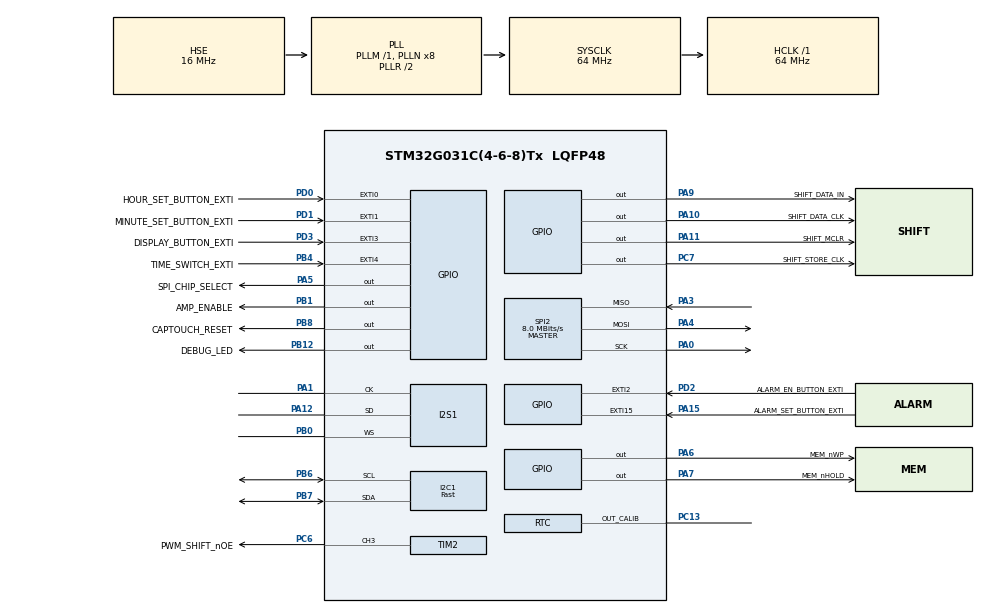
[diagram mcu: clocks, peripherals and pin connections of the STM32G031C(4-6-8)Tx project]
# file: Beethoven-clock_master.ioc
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Dma.Request0=SPI2_RX
Dma.Request1=SPI2_TX
Dma.Request2=SPI1_TX
Dma.SPI1_TX.2.Direction=DMA_MEMORY_TO_PERIPH
Dma.SPI1_TX.2.EventEnable=DISABLE
Dma.SPI1_TX.2.Instance=DMA1_Channel3
Dma.SPI1_TX.2.MemDataAlignment=DMA_MDATAALIGN_HALFWORD
Dma.SPI1_TX.2.MemInc=DMA_MINC_ENABLE
Dma.SPI1_TX.2.Mode=DMA_NORMAL
Dma.SPI1_TX.2.PeriphDataAlignment=DMA_PDATAALIGN_HALFWORD
Dma.SPI1_TX.2.PeriphInc=DMA_PINC_DISABLE
Dma.SPI1_TX.2.Polarity=HAL_DMAMUX_REQ_GEN_RISING
Dma.SPI1_TX.2.Priority=DMA_PRIORITY_VERY_HIGH
Dma.SPI1_TX.2.RequestNumber=1
Dma.SPI1_TX.2.SignalID=NONE
Dma.SPI1_TX.2.SyncEnable=DISABLE
Dma.SPI1_TX.2.SyncPolarity=HAL_DMAMUX_SYNC_NO_EVENT
Dma.SPI1_TX.2.SyncRequestNumber=1
Dma.SPI1_TX.2.SyncSignalID=NONE
Dma.SPI2_RX.0.Direction=DMA_PERIPH_TO_MEMORY
Dma.SPI2_RX.0.EventEnable=DISABLE
Dma.SPI2_RX.0.Instance=DMA1_Channel1
Dma.SPI2_RX.0.MemDataAlignment=DMA_MDATAALIGN_BYTE
Dma.SPI2_RX.0.MemInc=DMA_MINC_ENABLE
Dma.SPI2_RX.0.Mode=DMA_NORMAL
Dma.SPI2_RX.0.PeriphDataAlignment=DMA_PDATAALIGN_BYTE
Dma.SPI2_RX.0.PeriphInc=DMA_PINC_DISABLE
Dma.SPI2_RX.0.Polarity=HAL_DMAMUX_REQ_GEN_RISING
Dma.SPI2_RX.0.Priority=DMA_PRIORITY_LOW
Dma.SPI2_RX.0.RequestNumber=1
Dma.SPI2_RX.0.SignalID=NONE
Dma.SPI2_RX.0.SyncEnable=DISABLE
Dma.SPI2_RX.0.SyncPolarity=HAL_DMAMUX_SYNC_NO_EVENT
Dma.SPI2_RX.0.SyncRequestNumber=1
Dma.SPI2_RX.0.SyncSignalID=NONE
Dma.SPI2_TX.1.Direction=DMA_MEMORY_TO_PERIPH
Dma.SPI2_TX.1.EventEnable=DISABLE
Dma.SPI2_TX.1.Instance=DMA1_Channel2
Dma.SPI2_TX.1.MemDataAlignment=DMA_MDATAALIGN_BYTE
Dma.SPI2_TX.1.MemInc=DMA_MINC_ENABLE
Dma.SPI2_TX.1.Mode=DMA_NORMAL
Dma.SPI2_TX.1.PeriphDataAlignment=DMA_PDATAALIGN_BYTE
Dma.SPI2_TX.1.PeriphInc=DMA_PINC_DISABLE
Dma.SPI2_TX.1.Polarity=HAL_DMAMUX_REQ_GEN_RISING
Dma.SPI2_TX.1.Priority=DMA_PRIORITY_LOW
Dma.SPI2_TX.1.RequestNumber=1
Dma.SPI2_TX.1.SignalID=NONE
Dma.SPI2_TX.1.SyncEnable=DISABLE
Dma.SPI2_TX.1.SyncPolarity=HAL_DMAMUX_SYNC_NO_EVENT
Dma.SPI2_TX.1.SyncRequestNumber=1
Dma.SPI2_TX.1.SyncSignalID=NONE
I2C1.I2C_Speed_Mode=I2C_Fast
I2C1.Timing=0x00602173
I2S1.AudioFreq=I2S_AUDIOFREQ_44K
I2S1.ErrorAudioFreq=1.0 %
I2S1.FullDuplexMode=I2S_FULLDUPLEXMODE_DISABLE
I2S1.Instance=SPI$Index
I2S1.RealAudioFreq=44.444 KHz
I2S1.VirtualMode=I2S_MODE_MASTER
Mcu.Family=STM32G0
Mcu.Name=STM32G031C(4-6-8)Tx
Mcu.Package=LQFP48
NVIC.DMA1_Channel1_IRQn=true\:0\:0\:false\:false\:true\:false\:true\:true
NVIC.DMA1_Channel2_3_IRQn=true\:0\:0\:false\:false\:true\:false\:true\:true
NVIC.EXTI0_1_IRQn=true\:0\:0\:false\:false\:true\:true\:true\:true
NVIC.EXTI2_3_IRQn=true\:1\:0\:true\:false\:true\:true\:true\:true
NVIC.EXTI4_15_IRQn=true\:1\:0\:true\:false\:true\:true\:true\:true
NVIC.RCC_IRQn=true\:0\:0\:false\:false\:true\:true\:false\:true
NVIC.RTC_TAMP_IRQn=true\:0\:0\:false\:false\:true\:true\:true\:true
NVIC.TIM16_IRQn=true\:0\:0\:false\:false\:true\:true\:true\:true
PA0.Mode=Full_Duplex_Master
PA0.Signal=SPI2_SCK
PA1.Mode=Half_Duplex_Master
PA1.Signal=I2S1_CK
PA10.GPIO_Label=SHIFT_DATA_CLK
PA10.Signal=GPIO_Output
PA11\ [PA9].GPIO_Label=SHIFT_MCLR
PA11\ [PA9].PinState=GPIO_PIN_SET
PA11\ [PA9].Signal=GPIO_Output
PA12\ [PA10].Mode=Half_Duplex_Master
PA12\ [PA10].Signal=I2S1_SD
PA13.Mode=Serial_Wire
PA13.Signal=SYS_SWDIO
PA14-BOOT0.Mode=Serial_Wire
PA14-BOOT0.Signal=SYS_SWCLK
PA15.GPIO_Label=ALARM_SET_BUTTON_EXTI
PA15.GPIO_ModeDefaultEXTI=GPIO_MODE_IT_FALLING
PA15.GPIO_PuPd=GPIO_PULLUP
PA15.Signal=GPXTI15
PA2.Mode=Clock-out-LSCO
PA2.Signal=RCC_LSCO
PA3.Mode=Full_Duplex_Master
PA3.Signal=SPI2_MISO
PA4.Mode=Full_Duplex_Master
PA4.Signal=SPI2_MOSI
PA5.GPIO_Label=SPI_CHIP_SELECT
PA5.PinState=GPIO_PIN_SET
PA5.Signal=GPIO_Output
PA6.GPIO_Label=MEM_nWP
PA6.PinState=GPIO_PIN_SET
PA6.Signal=GPIO_Output
PA7.GPIO_Label=MEM_nHOLD
PA7.PinState=GPIO_PIN_SET
PA7.Signal=GPIO_Output
PA9.GPIO_Label=SHIFT_DATA_IN
PA9.Signal=GPIO_Output
PB0.Mode=Half_Duplex_Master
PB0.Signal=I2S1_WS
PB1.GPIO_Label=AMP_ENABLE
PB1.Signal=GPIO_Output
PB12.GPIO_Label=DEBUG_LED
PB12.Signal=GPIO_Output
PB4.GPIO_Label=TIME_SWITCH_EXTI
PB4.GPIO_ModeDefaultEXTI=GPIO_MODE_IT_RISING_FALLING
PB4.GPIO_PuPd=GPIO_PULLUP
PB4.Signal=GPXTI4
PB6.Mode=I2C
PB6.Signal=I2C1_SCL
PB7.Mode=I2C
PB7.Signal=I2C1_SDA
PB8.GPIO_Label=CAPTOUCH_RESET
PB8.PinState=GPIO_PIN_SET
PB8.Signal=GPIO_Output
PC13.Mode=Calibration_512Hz
PC13.Signal=RTC_OUT_CALIB
PC14-OSC32_IN\ (PC14).Mode=LSE-External-Oscillator
PC14-OSC32_IN\ (PC14).Signal=RCC_OSC32_IN
PC15-OSC32_OUT\ (PC15).Mode=LSE-External-Oscillator
PC15-OSC32_OUT\ (PC15).Signal=RCC_OSC32_OUT
PC6.GPIO_Label=PWM_SHIFT_nOE
PC6.Signal=S_TIM2_CH3
PC7.GPIO_Label=SHIFT_STORE_CLK
PC7.Signal=GPIO_Output
PD0.GPIO_Label=HOUR_SET_BUTTON_EXTI
PD0.GPIO_ModeDefaultEXTI=GPIO_MODE_IT_FALLING
PD0.GPIO_PuPd=GPIO_PULLUP
PD0.Signal=GPXTI0
PD1.GPIO_Label=MINUTE_SET_BUTTON_EXTI
PD1.GPIO_ModeDefaultEXTI=GPIO_MODE_IT_FALLING
PD1.GPIO_PuPd=GPIO_PULLUP
PD1.Signal=GPXTI1
PD2.GPIO_Label=ALARM_EN_BUTTON_EXTI
PD2.GPIO_ModeDefaultEXTI=GPIO_MODE_IT_FALLING
PD2.GPIO_PuPd=GPIO_PULLUP
PD2.Signal=GPXTI2
PD3.GPIO_Label=DISPLAY_BUTTON_EXTI
PD3.GPIO_ModeDefaultEXTI=GPIO_MODE_IT_FALLING
PD3.GPIO_PuPd=GPIO_PULLUP
PD3.Signal=GPXTI3
PF0-OSC_IN\ (PF0).Mode=HSE-External-Oscillator
PF0-OSC_IN\ (PF0).Signal=RCC_OSC_IN
PF1-OSC_OUT\ (PF1).Mode=HSE-External-Oscillator
PF1-OSC_OUT\ (PF1).Signal=RCC_OSC_OUT
ProjectManager.HeapSize=0x200
ProjectManager.StackSize=0x400
ProjectManager.TargetToolchain=STM32CubeIDE
RCC.ADCFreq_Value=64000000
RCC.AHBFreq_Value=64000000
RCC.CortexFreq_Value=64000000
RCC.EXTERNAL_CLOCK_VALUE=12288000
RCC.HCLKFreq_Value=64000000
RCC.HSE_VALUE=16000000
RCC.HSI_VALUE=16000000
RCC.PLLP=RCC_PLLP_DIV4
RCC.PLLSourceVirtual=RCC_PLLSOURCE_HSE
RCC.RTCClockSelection=RCC_RTCCLKSOURCE_LSE
RCC.SYSCLKFreq_VALUE=64000000
RCC.SYSCLKSource=RCC_SYSCLKSOURCE_PLLCLK
RCC.VCOOutputFreq_Value=128000000
RTC.Alarm-Alarm\ A=RTC_ALARM_A
RTC.AlarmMaskDateWeekDay-Alarm\ A=RTC_ALARMMASK_DATEWEEKDAY
RTC.AlarmMaskHours-Alarm\ A=RTC_ALARMMASK_HOURS
RTC.AlarmMaskSeconds-Alarm\ A=RTC_ALARMMASK_SECONDS
RTC.HourFormat=RTC_HOURFORMAT_12
RTC.Minutes_A-Alarm\ A=1
SH.S_TIM2_CH3.0=TIM2_CH3,PWM Generation3 CH3
SPI2.BaudRatePrescaler=SPI_BAUDRATEPRESCALER_8
SPI2.CLKPhase=SPI_PHASE_1EDGE
SPI2.CalculateBaudRate=8.0 MBits/s
SPI2.Direction=SPI_DIRECTION_2LINES
SPI2.Mode=SPI_MODE_MASTER
SPI2.VirtualType=VM_MASTER
TIM14.Prescaler=244*4
TIM16.Prescaler=58595
TIM16.RepetitionCounter=10
TIM2.Channel-PWM\ Generation3\ CH3=TIM_CHANNEL_3
TIM2.Period=100-1
TIM2.Prescaler=800-1
VP_RTC_VS_RTC_Activate.Mode=RTC_Enabled
VP_RTC_VS_RTC_Alarm_A_Intern.Mode=Alarm A
VP_RTC_VS_RTC_Calendar.Mode=RTC_Calendar
VP_TIM14_VS_ClockSourceINT.Mode=Enable_Timer
VP_TIM16_VS_ClockSourceINT.Mode=Enable_Timer
board=custom

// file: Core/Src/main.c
/* USER CODE BEGIN Header */
/**
  ******************************************************************************
  * @file           : main.c
  * @brief          : Main program body
  ******************************************************************************
  * @attention
  *
  * Copyright (c) 2024 STMicroelectronics.
  * All rights reserved.
  *
  * This software is licensed under terms that can be found in the LICENSE file
  * in the root directory of this software component.
  * If no LICENSE file comes with this software, it is provided AS-IS.
  *
  ******************************************************************************
  */
/* USER CODE END Header */
#include "main.h"

/* USER CODE BEGIN Includes */

/*
 * Include user alarm functions
 */
#ifndef ALARM_H_
#include "alarm.h"
#endif

/*
 * Include shift register library for quad 7-segment displays
 */
#ifndef SEVSEG_SHIFT_H_
#include "sevSeg_shift.h"
#endif

/*
 * Include board-specific variable mappings
 */
#ifndef BEETHOVENCLOCKVARS_H_
#include "beethovenClockVars.h"
#endif

/*
 * Include cap. touch interface library
 */
#ifndef AT42QT1070_H_
#include "AT42QT1070.h"
#endif

/*
 * Include SPI Flash Memeory Driver
 */
#ifndef W25QXXX_H_
#include "W25Qxxx.h"
#endif

/*
 * Include I2S Amplifier Driver
 */
#ifndef NAU8315YG_H_
#include "NAU8315YG.h"
#endif

/* USER CODE END Includes */

I2C_HandleTypeDef hi2c1;

I2S_HandleTypeDef hi2s1;
DMA_HandleTypeDef hdma_spi1_tx;

RTC_HandleTypeDef hrtc;

SPI_HandleTypeDef hspi2;
DMA_HandleTypeDef hdma_spi2_rx;
DMA_HandleTypeDef hdma_spi2_tx;

TIM_HandleTypeDef htim2;
TIM_HandleTypeDef htim14;
TIM_HandleTypeDef htim16;

/* USER CODE BEGIN PV */

/*
 * Timer to be used for PWMing display
 */
TIM_HandleTypeDef *timerPWM = &htim2;

/*
 * Timer to be used for non-blocking delays
 */
TIM_HandleTypeDef *timerDelay = &htim14;

/*
 * Timer to be used for long 10-minute snooze
 */
TIM_HandleTypeDef *timerSnooze = &htim16;

/*
 * RCR value for long 10-minute snooze
 */
const uint32_t timerSnooze_RCR = 100;

/*
 * State bools
 */

// Used to blare alarm if enabled
bool alarmSetMode = false;

/*
 * Used to indicate whether the clock is in a
 * state to sound a snoozed alarm again after 10 minutes.
 * false = regular operation, true = 10-minute snooze period
 */
bool secondSnooze = false;

/*
 * Cap. touch struct
 */
QT1070 capTouch;

/*
 * SPI Flash memory struct
 */
W25Q spiFlash;

/*
 * I2S amplifier struct
 */
NAU8315YG i2sAmp;

/*
 * DMA buffers & flags
 */

// Two buffers to ping-pong in between for SPI RX
uint8_t spiRxBuff1[BUFFER_SIZE];
uint8_t spiRxBuff2[BUFFER_SIZE];

// Pointer to signify which RX buffer DMA should RX data to
uint8_t *spiRxPtr = &spiRxBuff1[0];

// Pointer to signify which RX buffer CPU should process data from
uint8_t *dataProcessPtr = &spiRxBuff1[0];

// Single circular output buffer to TX I2S audio data
uint16_t i2sTxBuff[BUFFER_SIZE];

// Pointer to signify which part of the TX buffer we point to
uint16_t *spiTxPtr = &i2sTxBuff[0];

/*
 * Bools to indicate DMA status
 */
bool clearToFillBuff1 = 0;
bool clearToFillBuff2 = 0;
bool clearToProcessBuff1 = 0;
bool clearToProcessBuff2 = 0;

/* USER CODE END PV */

void SystemClock_Config(void);
static void MX_GPIO_Init(void);
static void MX_DMA_Init(void);
static void MX_RTC_Init(void);
static void MX_I2C1_Init(void);
static void MX_I2S1_Init(void);
static void MX_SPI2_Init(void);
static void MX_TIM2_Init(void);
static void MX_TIM14_Init(void);
static void MX_TIM16_Init(void);
/* USER CODE BEGIN PFP */

/*
 * Call to fetch the current time from the RTC and send to the LED display.
 *
 * @param none
 *
 * @ret HAL status object
 */
HAL_StatusTypeDef updateAndDisplayTime(void);

/*
 * Call to fetch the current alarm from the RTC and send to the LED display.
 *
 * @param none
 *
 * @ret HAL status object
 */
HAL_StatusTypeDef updateAndDisplayAlarm(void);

/*
 * Called on interrupt from display button to toggle 7-segment intensity.
 *
 * @param none
 *
 * @ret HAL status object
 */
HAL_StatusTypeDef displayButtonISR(void);

/*
 * Called on interrupt from alarm enable button to toggle user alarm.
 *
 * @param none
 *
 * @ret HAL status object
 */
HAL_StatusTypeDef alarmEnableISR(void);

/*
 * Called on interrupt from alarm set button to enter alarm set loop.
 *
 * @param none
 *
 * @ret HAL status object
 */
HAL_StatusTypeDef alarmSetISR(void);

/*
 * Called on interrupt from hour and minute set buttons.
 * Contain logic to set user alarm hour or minute.
 *
 * @param none
 *
 * @ret HAL status object
 */
HAL_StatusTypeDef hourSetISR(void);
HAL_StatusTypeDef minuteSetISR(void);

/*
 * Called on interrupt from time format switch
 * Contains logic to change RTC time format
 */
HAL_StatusTypeDef timeFormatSwitchISR(void);

/*
 * Hour and minute incrementing functions for alarm time and current time
 */
void alarmHourInc(void);
void currHourInc(void);
void alarmMinuteInc(void);
void currMinuteInc(void);

/*
 * Enters loop to signal user alarm
 */
void userAlarmBeep(void);

/*
 * Displays non-critical error on debug LED and continues functionality
 */
void dispFault();

/*
 * Displays Critical Error on clock and halts all functionality
 */
void dispFailure();

/*
 * Updates RTC Backup Registers with user alarm time
 */
void updateRTCBackupReg(void);

/*
 * Begins double-buffered DMA streams to provide audio output
 */
void startAudioStream(void);

/*
 * Converts the passed RTC time to the same time expressed in 24 hour (military) time
 */
RTC_TimeTypeDef conv2Mil(RTC_TimeTypeDef *oldTime);

/* USER CODE END PFP */

int main(void)
{

  /* MCU Configuration--------------------------------------------------------*/

  /* Reset of all peripherals, Initializes the Flash interface and the Systick. */
  HAL_Init();

  /* Configure the system clock */
  SystemClock_Config();

  /* Initialize all configured peripherals */
  MX_GPIO_Init();
  MX_DMA_Init();
  MX_RTC_Init();
  MX_I2C1_Init();
  MX_I2S1_Init();
  MX_SPI2_Init();
  MX_TIM2_Init();
  MX_TIM14_Init();
  MX_TIM16_Init();
  /* USER CODE BEGIN 2 */

	  // HAL Status handle for error-checking
	  HAL_StatusTypeDef halRet = HAL_OK;

	  // Determine which time format we will be using
	  	if(HAL_GPIO_ReadPin(timeFormatSwitchPort, timeFormatSwitchPin) == userTimeFormatGPIO_12) {
	  	  userTimeFormat = RTC_HOURFORMAT_12;
	  	}
	  	else {
	  	  userTimeFormat = RTC_HOURFORMAT_24;
	  	}

  	  // Set Smooth Calibration Value
	  halRet = HAL_RTCEx_SetSmoothCalib(&hrtc, RTC_SMOOTHCALIB_PERIOD_8SEC,
									RTC_SMOOTHCALIB_PLUSPULSES_RESET, rtcCalVal);
	  if(halRet != HAL_OK) {
		  // Failure to talk to RTC is a hard failure
		  dispFailure();
	  }

	  // Init the internal RTC alarm time to track the current time
	  halRet = initRTCInternalAlarm(&hrtc, &currTime, &currDate);
	  if(halRet != HAL_OK) {
		  // Failure to initialize RTC alarm is a hard failure
		  dispFailure();
		}

	  // Initialize all GPIOs to be used with 7 segment display
		sevSeg_Init(shiftDataPin, shiftDataClockPin, shiftStoreClockPin,
					shiftOutputEnablePin, shiftMCLRPin,
					GPIOPortArray, timerDelay, timerPWM, tim_PWM_CHANNEL);

		halRet = updateAndDisplayTime();
		if(halRet != HAL_OK) {
		  // Failure to display current time is a hard failure
		  dispFailure();
		}

    /*
     * Initialize capacitive touch sensor
     */

		// Used to separate return initializations into critical and non-critical errors.
		uint8_t initRet = 0;

		initRet = capTouch_Init(&capTouch, &hi2c1, timerDelay,
								&capTouchResetPort, capTouchResetPin, capTouchChannels);
		if( (initRet == 1) || (initRet == 3) || (initRet == 4)) {

			/* Critical Errors:
			 * 1 = Failure to read correct device ID
			 * 2 = Failure to read Keys
			 * 3 = Failure to enable keys
			 */
			dispFailure();
		}
		else if (initRet == 2) {
			/*
			 * Non-critical Errors:
			 * 2 = Failure to Recalibrate
			 */
			dispFault();
		}
		else if(initRet == 0) {
			// initRet = 0 = all is well
			__NOP();
		}

		// Set averaging factor
		uint8_t avgFactors_New[7] = {AVGFact, AVGFact, AVGFact, AVGFact, 0, 0, 0};
		halRet = capTouch_SetAveragingFactor(&capTouch, avgFactors_New);

		if(halRet != HAL_OK) {
			// This is sensitivity-setting and a non-critical error
			dispFault();
		}

		// Set detection integration factors
		uint8_t detIntFactors_New[7] = {DIFact, DIFact, DIFact, DIFact, DIFact, DIFact, DIFact};
		halRet = capTouch_SetDetectionIntegrator(&capTouch, detIntFactors_New);
		if(halRet != HAL_OK) {
			// This is sensitivity-setting and a non-critical error
			dispFault();
		}

		userAlarmToggle = false;			//Default to off

    /*
     * If the bootstrap backup register reads 0x00 (never written to,)
     * initialize the alarm time to a default value.
     *
     * Else, initialize to whatever is stored in backup registers.
     */

		if((uint8_t)HAL_RTCEx_BKUPRead(&hrtc, bootstrapBackupReg) == 0) {

			HAL_RTCEx_BKUPWrite(&hrtc, userAlarmHourBackupReg, 0x01);
			HAL_RTCEx_BKUPWrite(&hrtc, userAlarmMinuteBackupReg, 0x00);
			HAL_RTCEx_BKUPWrite(&hrtc, userAlarmTFBackupReg, RTC_HOURFORMAT12_AM);

			// Write backup register with a non-zero value to signify that it has been initialized before
			HAL_RTCEx_BKUPWrite(&hrtc, bootstrapBackupReg, 0xFFFFFFFF);

		}

		userAlarmTime.Hours = (uint8_t)HAL_RTCEx_BKUPRead(&hrtc, userAlarmHourBackupReg);
		userAlarmTime.Minutes = (uint8_t)HAL_RTCEx_BKUPRead(&hrtc, userAlarmMinuteBackupReg);
		userAlarmTime.TimeFormat = (uint8_t)HAL_RTCEx_BKUPRead(&hrtc, userAlarmTFBackupReg);

  	  // TODO: Init Memory Chip

//	     uint8_t initStat = W25Q_Init(&spiFlash, GPIOA, GPIOA, GPIOA,
//	   		  	  	  	  	  	  GPIO_PIN_5, GPIO_PIN_6, GPIO_PIN_7, &hspi2, 0x17, 1, 1);
//
//		 // Enter error loop if there's an error in initialization
//		 if(initStat != 0) {
//		   while(1) {
//			   HAL_GPIO_WritePin(GPIOB, GPIO_PIN_12, GPIO_PIN_SET);
//			   HAL_Delay(500);
//			   HAL_GPIO_WritePin(GPIOB, GPIO_PIN_12, GPIO_PIN_RESET);
//			   HAL_Delay(500);
//		   }
//		 }

     // TODO: Init i2s amplifier

  /* USER CODE END 2 */

  /* Infinite loop */
  /* USER CODE BEGIN WHILE */

		__NOP();

  while (1)
  {

    /* USER CODE END WHILE */

  }
}

void SystemClock_Config(void)
{
  RCC_OscInitTypeDef RCC_OscInitStruct = {0};
  RCC_ClkInitTypeDef RCC_ClkInitStruct = {0};

  /** Configure the main internal regulator output voltage
  */
  HAL_PWREx_ControlVoltageScaling(PWR_REGULATOR_VOLTAGE_SCALE1);

  /** Configure LSE Drive Capability
  */
  HAL_PWR_EnableBkUpAccess();
  __HAL_RCC_LSEDRIVE_CONFIG(RCC_LSEDRIVE_LOW);

  /** Initializes the RCC Oscillators according to the specified parameters
  * in the RCC_OscInitTypeDef structure.
  */
  RCC_OscInitStruct.OscillatorType = RCC_OSCILLATORTYPE_LSI|RCC_OSCILLATORTYPE_HSE
                              |RCC_OSCILLATORTYPE_LSE;
  RCC_OscInitStruct.HSEState = RCC_HSE_ON;
  RCC_OscInitStruct.LSEState = RCC_LSE_ON;
  RCC_OscInitStruct.LSIState = RCC_LSI_ON;
  RCC_OscInitStruct.PLL.PLLState = RCC_PLL_ON;
  RCC_OscInitStruct.PLL.PLLSource = RCC_PLLSOURCE_HSE;
  RCC_OscInitStruct.PLL.PLLM = RCC_PLLM_DIV1;
  RCC_OscInitStruct.PLL.PLLN = 8;
  RCC_OscInitStruct.PLL.PLLP = RCC_PLLP_DIV4;
  RCC_OscInitStruct.PLL.PLLQ = RCC_PLLQ_DIV2;
  RCC_OscInitStruct.PLL.PLLR = RCC_PLLR_DIV2;
  if (HAL_RCC_OscConfig(&RCC_OscInitStruct) != HAL_OK)
  {
    Error_Handler();
  }

  /** Initializes the CPU, AHB and APB buses clocks
  */
  RCC_ClkInitStruct.ClockType = RCC_CLOCKTYPE_HCLK|RCC_CLOCKTYPE_SYSCLK
                              |RCC_CLOCKTYPE_PCLK1;
  RCC_ClkInitStruct.SYSCLKSource = RCC_SYSCLKSOURCE_PLLCLK;
  RCC_ClkInitStruct.AHBCLKDivider = RCC_SYSCLK_DIV1;
  RCC_ClkInitStruct.APB1CLKDivider = RCC_HCLK_DIV1;

  if (HAL_RCC_ClockConfig(&RCC_ClkInitStruct, FLASH_LATENCY_2) != HAL_OK)
  {
    Error_Handler();
  }
  HAL_RCCEx_EnableLSCO(RCC_LSCOSOURCE_LSI);
}

static void MX_I2C1_Init(void)
{

  hi2c1.Instance = I2C1;
  hi2c1.Init.Timing = 0x00602173;
  hi2c1.Init.OwnAddress1 = 0;
  hi2c1.Init.AddressingMode = I2C_ADDRESSINGMODE_7BIT;
  hi2c1.Init.DualAddressMode = I2C_DUALADDRESS_DISABLE;
  hi2c1.Init.OwnAddress2 = 0;
  hi2c1.Init.OwnAddress2Masks = I2C_OA2_NOMASK;
  hi2c1.Init.GeneralCallMode = I2C_GENERALCALL_DISABLE;
  hi2c1.Init.NoStretchMode = I2C_NOSTRETCH_DISABLE;
  if (HAL_I2C_Init(&hi2c1) != HAL_OK)
  {
    Error_Handler();
  }

  /** Configure Analogue filter
  */
  if (HAL_I2CEx_ConfigAnalogFilter(&hi2c1, I2C_ANALOGFILTER_ENABLE) != HAL_OK)
  {
    Error_Handler();
  }

  /** Configure Digital filter
  */
  if (HAL_I2CEx_ConfigDigitalFilter(&hi2c1, 0) != HAL_OK)
  {
    Error_Handler();
  }

}

static void MX_I2S1_Init(void)
{

  hi2s1.Instance = SPI1;
  hi2s1.Init.Mode = I2S_MODE_MASTER_TX;
  hi2s1.Init.Standard = I2S_STANDARD_PHILIPS;
  hi2s1.Init.DataFormat = I2S_DATAFORMAT_16B;
  hi2s1.Init.MCLKOutput = I2S_MCLKOUTPUT_DISABLE;
  hi2s1.Init.AudioFreq = I2S_AUDIOFREQ_44K;
  hi2s1.Init.CPOL = I2S_CPOL_LOW;
  if (HAL_I2S_Init(&hi2s1) != HAL_OK)
  {
    Error_Handler();
  }

}

static void MX_RTC_Init(void)
{

  RTC_TimeTypeDef sTime = {0};
  RTC_DateTypeDef sDate = {0};
  RTC_AlarmTypeDef sAlarm = {0};

  /** Initialize RTC Only
  */
  hrtc.Instance = RTC;
  hrtc.Init.HourFormat = RTC_HOURFORMAT_12;
  hrtc.Init.AsynchPrediv = 127;
  hrtc.Init.SynchPrediv = 255;
  hrtc.Init.OutPut = RTC_OUTPUT_DISABLE;
  hrtc.Init.OutPutRemap = RTC_OUTPUT_REMAP_NONE;
  hrtc.Init.OutPutPolarity = RTC_OUTPUT_POLARITY_HIGH;
  hrtc.Init.OutPutType = RTC_OUTPUT_TYPE_OPENDRAIN;
  hrtc.Init.OutPutPullUp = RTC_OUTPUT_PULLUP_NONE;
  if (HAL_RTC_Init(&hrtc) != HAL_OK)
  {
    Error_Handler();
  }

  /** Initialize RTC and set the Time and Date
  */
//  sTime.Hours = 0x1;
//  sTime.Minutes = 0x0;
//  sTime.Seconds = 0x0;
//  sTime.SubSeconds = 0x0;
//  sTime.TimeFormat = RTC_HOURFORMAT12_AM;
//  sTime.DayLightSaving = RTC_DAYLIGHTSAVING_NONE;
//  sTime.StoreOperation = RTC_STOREOPERATION_RESET;
//  if (HAL_RTC_SetTime(&hrtc, &sTime, RTC_FORMAT_BCD) != HAL_OK)
//  {
//    Error_Handler();
//  }
//  sDate.WeekDay = RTC_WEEKDAY_MONDAY;
//  sDate.Month = RTC_MONTH_JANUARY;
//  sDate.Date = 0x1;
//  sDate.Year = 0x0;
//
//  if (HAL_RTC_SetDate(&hrtc, &sDate, RTC_FORMAT_BCD) != HAL_OK)
//  {
//    Error_Handler();
//  }

  /** Enable the Alarm A
  */
  sAlarm.AlarmTime.Hours = 0x1;
  sAlarm.AlarmTime.Minutes = 0x1;
  sAlarm.AlarmTime.Seconds = 0x0;
  sAlarm.AlarmTime.SubSeconds = 0x0;
  sAlarm.AlarmTime.TimeFormat = RTC_HOURFORMAT12_AM;
  sAlarm.AlarmTime.DayLightSaving = RTC_DAYLIGHTSAVING_NONE;
  sAlarm.AlarmTime.StoreOperation = RTC_STOREOPERATION_RESET;
  sAlarm.AlarmMask = RTC_ALARMMASK_DATEWEEKDAY|RTC_ALARMMASK_HOURS
                              |RTC_ALARMMASK_SECONDS;
  sAlarm.AlarmSubSecondMask = RTC_ALARMSUBSECONDMASK_ALL;
  sAlarm.AlarmDateWeekDaySel = RTC_ALARMDATEWEEKDAYSEL_DATE;
  sAlarm.AlarmDateWeekDay = 0x1;
  sAlarm.Alarm = RTC_ALARM_A;
  if (HAL_RTC_SetAlarm_IT(&hrtc, &sAlarm, RTC_FORMAT_BCD) != HAL_OK)
  {
    Error_Handler();
  }

  /** Enable Calibration
  */
  if (HAL_RTCEx_SetCalibrationOutPut(&hrtc, RTC_CALIBOUTPUT_512HZ) != HAL_OK)
  {
    Error_Handler();
  }
  /* USER CODE BEGIN RTC_Init 2 */

  // Do not initialize time - pull from whatever is in register
    HAL_RTC_GetTime(&hrtc, &currTime, RTCTimeFormat);

  /* USER CODE END RTC_Init 2 */

}

static void MX_SPI2_Init(void)
{

  /* SPI2 parameter configuration*/
  hspi2.Instance = SPI2;
  hspi2.Init.Mode = SPI_MODE_MASTER;
  hspi2.Init.Direction = SPI_DIRECTION_2LINES;
  hspi2.Init.DataSize = SPI_DATASIZE_8BIT;
  hspi2.Init.CLKPolarity = SPI_POLARITY_LOW;
  hspi2.Init.CLKPhase = SPI_PHASE_1EDGE;
  hspi2.Init.NSS = SPI_NSS_SOFT;
  hspi2.Init.BaudRatePrescaler = SPI_BAUDRATEPRESCALER_8;
  hspi2.Init.FirstBit = SPI_FIRSTBIT_MSB;
  hspi2.Init.TIMode = SPI_TIMODE_DISABLE;
  hspi2.Init.CRCCalculation = SPI_CRCCALCULATION_DISABLE;
  hspi2.Init.CRCPolynomial = 7;
  hspi2.Init.CRCLength = SPI_CRC_LENGTH_DATASIZE;
  hspi2.Init.NSSPMode = SPI_NSS_PULSE_ENABLE;
  if (HAL_SPI_Init(&hspi2) != HAL_OK)
  {
    Error_Handler();
  }

}

static void MX_TIM2_Init(void)
{

  TIM_MasterConfigTypeDef sMasterConfig = {0};
  TIM_OC_InitTypeDef sConfigOC = {0};

  htim2.Instance = TIM2;
  htim2.Init.Prescaler = 800-1;
  htim2.Init.CounterMode = TIM_COUNTERMODE_UP;
  htim2.Init.Period = 100-1;
  htim2.Init.ClockDivision = TIM_CLOCKDIVISION_DIV1;
  htim2.Init.AutoReloadPreload = TIM_AUTORELOAD_PRELOAD_DISABLE;
  if (HAL_TIM_PWM_Init(&htim2) != HAL_OK)
  {
    Error_Handler();
  }
  sMasterConfig.MasterOutputTrigger = TIM_TRGO_RESET;
  sMasterConfig.MasterSlaveMode = TIM_MASTERSLAVEMODE_DISABLE;
  if (HAL_TIMEx_MasterConfigSynchronization(&htim2, &sMasterConfig) != HAL_OK)
  {
    Error_Handler();
  }
  sConfigOC.OCMode = TIM_OCMODE_PWM1;
  sConfigOC.Pulse = 0;
  sConfigOC.OCPolarity = TIM_OCPOLARITY_HIGH;
  sConfigOC.OCFastMode = TIM_OCFAST_DISABLE;
  if (HAL_TIM_PWM_ConfigChannel(&htim2, &sConfigOC, TIM_CHANNEL_3) != HAL_OK)
  {
    Error_Handler();
  }
  HAL_TIM_MspPostInit(&htim2);

}

static void MX_TIM14_Init(void)
{

  htim14.Instance = TIM14;
  htim14.Init.Prescaler = 244*4;
  htim14.Init.CounterMode = TIM_COUNTERMODE_UP;
  htim14.Init.Period = 65535;
  htim14.Init.ClockDivision = TIM_CLOCKDIVISION_DIV1;
  htim14.Init.AutoReloadPreload = TIM_AUTORELOAD_PRELOAD_DISABLE;
  if (HAL_TIM_Base_Init(&htim14) != HAL_OK)
  {
    Error_Handler();
  }

}

static void MX_TIM16_Init(void)
{

  htim16.Instance = TIM16;
  htim16.Init.Prescaler = 58595;
  htim16.Init.CounterMode = TIM_COUNTERMODE_UP;
  htim16.Init.Period = 65535;
  htim16.Init.ClockDivision = TIM_CLOCKDIVISION_DIV1;
  htim16.Init.RepetitionCounter = 10;
  htim16.Init.AutoReloadPreload = TIM_AUTORELOAD_PRELOAD_DISABLE;
  if (HAL_TIM_Base_Init(&htim16) != HAL_OK)
  {
    Error_Handler();
  }

}

static void MX_DMA_Init(void)
{

  /* DMA controller clock enable */
  __HAL_RCC_DMA1_CLK_ENABLE();

  /* DMA interrupt init */
  /* DMA1_Channel1_IRQn interrupt configuration */
  HAL_NVIC_SetPriority(DMA1_Channel1_IRQn, 0, 0);
  HAL_NVIC_EnableIRQ(DMA1_Channel1_IRQn);
  /* DMA1_Channel2_3_IRQn interrupt configuration */
  HAL_NVIC_SetPriority(DMA1_Channel2_3_IRQn, 0, 0);
  HAL_NVIC_EnableIRQ(DMA1_Channel2_3_IRQn);

}

static void MX_GPIO_Init(void)
{
  GPIO_InitTypeDef GPIO_InitStruct = {0};

  /* GPIO Ports Clock Enable */
  __HAL_RCC_GPIOC_CLK_ENABLE();
  __HAL_RCC_GPIOF_CLK_ENABLE();
  __HAL_RCC_GPIOA_CLK_ENABLE();
  __HAL_RCC_GPIOB_CLK_ENABLE();
  __HAL_RCC_GPIOD_CLK_ENABLE();

  /*Configure GPIO pin Output Level */
  HAL_GPIO_WritePin(GPIOA, SPI_CHIP_SELECT_Pin|MEM_nWP_Pin|MEM_nHOLD_Pin|SHIFT_MCLR_Pin, GPIO_PIN_SET);

  /*Configure GPIO pin Output Level */
  HAL_GPIO_WritePin(GPIOB, AMP_ENABLE_Pin|DEBUG_LED_Pin, GPIO_PIN_RESET);

  /*Configure GPIO pin Output Level */
  HAL_GPIO_WritePin(GPIOA, SHIFT_DATA_IN_Pin|SHIFT_DATA_CLK_Pin, GPIO_PIN_RESET);

  /*Configure GPIO pin Output Level */
  HAL_GPIO_WritePin(SHIFT_STORE_CLK_GPIO_Port, SHIFT_STORE_CLK_Pin, GPIO_PIN_RESET);

  /*Configure GPIO pin Output Level */
  HAL_GPIO_WritePin(CAPTOUCH_RESET_GPIO_Port, CAPTOUCH_RESET_Pin, GPIO_PIN_SET);

  /*Configure GPIO pin : PA2 */
  GPIO_InitStruct.Pin = GPIO_PIN_2;
  GPIO_InitStruct.Mode = GPIO_MODE_ANALOG;
  GPIO_InitStruct.Pull = GPIO_NOPULL;
  HAL_GPIO_Init(GPIOA, &GPIO_InitStruct);

  /*Configure GPIO pins : SPI_CHIP_SELECT_Pin MEM_nWP_Pin MEM_nHOLD_Pin SHIFT_DATA_IN_Pin
                           SHIFT_DATA_CLK_Pin SHIFT_MCLR_Pin */
  GPIO_InitStruct.Pin = SPI_CHIP_SELECT_Pin|MEM_nWP_Pin|MEM_nHOLD_Pin|SHIFT_DATA_IN_Pin
                          |SHIFT_DATA_CLK_Pin|SHIFT_MCLR_Pin;
  GPIO_InitStruct.Mode = GPIO_MODE_OUTPUT_PP;
  GPIO_InitStruct.Pull = GPIO_NOPULL;
  GPIO_InitStruct.Speed = GPIO_SPEED_FREQ_LOW;
  HAL_GPIO_Init(GPIOA, &GPIO_InitStruct);

  /*Configure GPIO pins : AMP_ENABLE_Pin DEBUG_LED_Pin CAPTOUCH_RESET_Pin */
  GPIO_InitStruct.Pin = AMP_ENABLE_Pin|DEBUG_LED_Pin|CAPTOUCH_RESET_Pin;
  GPIO_InitStruct.Mode = GPIO_MODE_OUTPUT_PP;
  GPIO_InitStruct.Pull = GPIO_NOPULL;
  GPIO_InitStruct.Speed = GPIO_SPEED_FREQ_LOW;
  HAL_GPIO_Init(GPIOB, &GPIO_InitStruct);

  /*Configure GPIO pin : SHIFT_STORE_CLK_Pin */
  GPIO_InitStruct.Pin = SHIFT_STORE_CLK_Pin;
  GPIO_InitStruct.Mode = GPIO_MODE_OUTPUT_PP;
  GPIO_InitStruct.Pull = GPIO_NOPULL;
  GPIO_InitStruct.Speed = GPIO_SPEED_FREQ_LOW;
  HAL_GPIO_Init(SHIFT_STORE_CLK_GPIO_Port, &GPIO_InitStruct);

  /*Configure GPIO pin : ALARM_SET_BUTTON_EXTI_Pin */
  GPIO_InitStruct.Pin = ALARM_SET_BUTTON_EXTI_Pin;
  GPIO_InitStruct.Mode = GPIO_MODE_IT_FALLING;
  GPIO_InitStruct.Pull = GPIO_PULLUP;
  HAL_GPIO_Init(ALARM_SET_BUTTON_EXTI_GPIO_Port, &GPIO_InitStruct);

  /*Configure GPIO pins : HOUR_SET_BUTTON_EXTI_Pin MINUTE_SET_BUTTON_EXTI_Pin ALARM_EN_BUTTON_EXTI_Pin DISPLAY_BUTTON_EXTI_Pin */
  GPIO_InitStruct.Pin = HOUR_SET_BUTTON_EXTI_Pin|MINUTE_SET_BUTTON_EXTI_Pin|ALARM_EN_BUTTON_EXTI_Pin|DISPLAY_BUTTON_EXTI_Pin;
  GPIO_InitStruct.Mode = GPIO_MODE_IT_FALLING;
  GPIO_InitStruct.Pull = GPIO_PULLUP;
  HAL_GPIO_Init(GPIOD, &GPIO_InitStruct);

  /*Configure GPIO pin : TIME_SWITCH_EXTI_Pin */
  GPIO_InitStruct.Pin = TIME_SWITCH_EXTI_Pin;
  GPIO_InitStruct.Mode = GPIO_MODE_IT_RISING_FALLING;
  GPIO_InitStruct.Pull = GPIO_PULLUP;
  HAL_GPIO_Init(TIME_SWITCH_EXTI_GPIO_Port, &GPIO_InitStruct);

  /* EXTI interrupt init*/
  HAL_NVIC_SetPriority(EXTI0_1_IRQn, 0, 0);
  HAL_NVIC_EnableIRQ(EXTI0_1_IRQn);

  HAL_NVIC_SetPriority(EXTI2_3_IRQn, 1, 0);
  HAL_NVIC_EnableIRQ(EXTI2_3_IRQn);

  HAL_NVIC_SetPriority(EXTI4_15_IRQn, 1, 0);
  HAL_NVIC_EnableIRQ(EXTI4_15_IRQn);

}

/* USER CODE BEGIN 4 */

/*
 * Pulls updated time from RTC and send new time to user display
 */
HAL_StatusTypeDef updateAndDisplayTime(void) {

	HAL_StatusTypeDef halRet = HAL_OK;

	getRTCTime(&hrtc, &currTime, &currDate);

	// If the user wants 24-hour time, shift the time accordingly
	if((userTimeFormat == RTC_HOURFORMAT_24)) {

		RTC_TimeTypeDef currTimeMil = conv2Mil(&currTime);

		sevSeg_updateDigits(&currTimeMil, userAlarmToggle);

	}
	else {
		sevSeg_updateDigits(&currTime, userAlarmToggle);
	}

	return halRet;

}

/*
 * Sends current user alarm time to user display
 * This doesn't pull from the RTC because the RTC alarm is not being used for that
 */

HAL_StatusTypeDef updateAndDisplayAlarm(void) {

	HAL_StatusTypeDef halRet = HAL_OK;

	// If the user wants 24-hour time, shift the time accordingly
	if((userTimeFormat == RTC_HOURFORMAT_24)) {

		RTC_TimeTypeDef userAlarmTimeMil = conv2Mil(&userAlarmTime);

		sevSeg_updateDigits(&userAlarmTimeMil, userAlarmToggle);

	}
	else {
		sevSeg_updateDigits(&userAlarmTime, userAlarmToggle);
	}

	return halRet;

}

/*
 * Interrupt callback function for RTC interrupt kickback
 * Occurs every minute increment
 *
 * Pulls alarm time from RTC, increments and sets new alarm time, and updates time.
 * Sets off user alarm if the alarm is enabled.
 */
void HAL_RTC_AlarmAEventCallback(RTC_HandleTypeDef *hrtc) {

	  RTC_AlarmTypeDef sAlarm = {0};
	  HAL_RTC_GetAlarm(hrtc, &sAlarm, internalAlarm, RTCTimeFormat);

	  if(sAlarm.AlarmTime.Minutes>58) {
		sAlarm.AlarmTime.Minutes=0;
	  } else {
		sAlarm.AlarmTime.Minutes=sAlarm.AlarmTime.Minutes+1;
	  }
		while(HAL_RTC_SetAlarm_IT(hrtc, &sAlarm, FORMAT_BIN)!=HAL_OK){}

	  updateAndDisplayTime();

	  // If alarm is enabled and current time matches user alarm time, set off the alarm.
	  if(userAlarmToggle && userAlarmTime.Hours == currTime.Hours
			  && userAlarmTime.Minutes == currTime.Minutes && userAlarmTime.TimeFormat == currTime.TimeFormat) {
		  userAlarmBeep();
	  }

}

/*
 * If user alarm is enabled and the RTC time equals the user alarm time, this function is entered.
 *
 * This function blinks the display LEDs and toggles the beeper until the user
 * disables this beeping through cap. touch or the alarm enable button.
 *
 * Functionality depends on whether or not this is the first or second snooze.
 * 		First Snooze: 10-minute timer is started and alarm
 * 		              is beeped again at the end of this 10 minutes.
 * 		Second Snooze: No timer is started and silencing the alarm silences it for good.
 */
void userAlarmBeep() {

	if (secondSnooze) { 		//If the user has already snoozed once,

			// Stop the timer and
			HAL_TIM_Base_Stop_IT(timerSnooze);

			// Reset count to 0
			// only bits 0 - 15 should be changed.
			timerSnooze->Instance->CNT &= 0xFFFF0000;

			// Reset interrupt status register
			timerSnooze->Instance->SR &= 0xFFFC;

			// Re-write RCR with 10
			timerSnooze->Instance->RCR &= 0xFF00;
			timerSnooze->Instance->RCR |= timerSnooze_RCR;

		}

	HAL_TIM_Base_Stop(timerDelay);
	HAL_TIM_Base_Start(timerDelay);						// Begin timer 16 counting (to 500 ms)
	uint32_t timerVal = __HAL_TIM_GET_COUNTER(timerDelay);	// Get initial timer value to compare to
	bool displayBlink = false;

	// TODO: Start audio DMA streams

	do {						// Beep buzzer and blink display until snooze button is pressed

		updateAndDisplayTime();				// Update to current time and display

		if(__HAL_TIM_GET_COUNTER(timerDelay) - timerVal >= (65535 / 2)) {		// Use hardware timer to blink/beep display

			sevSeg_setIntensity(sevSeg_intensityDuty[displayBlink]);	// Toggle 0% to 50% duty cycle

			timerVal = __HAL_TIM_GET_COUNTER(timerDelay);				// Update timer value

			displayBlink = !displayBlink;							// Toggle display blink counter

		}

		capTouch_readChannels(&capTouch);

	} while(capTouch.keyStat == 0x00 &&
			(HAL_GPIO_ReadPin(alarmEnableButtonPort, alarmEnableButtonPin) != GPIO_PIN_RESET));

	/*
	 * Stop blinking, turn off buzzer, set 50% duty cycle, update time
	 */
	HAL_TIM_Base_Stop(timerDelay);

	updateAndDisplayTime();				// Update to current time and display
	sevSeg_setIntensity(sevSeg_intensityDuty[1]);	// Set to 50% duty cycle
	displayToggle = 2;								// Set to 2 for future display button ISRs

	// If this is the first snooze,
	if(!secondSnooze) {

		// Start the snooze timer to trigger an interrupt after 10 minutes
		HAL_TIM_Base_Start_IT(timerSnooze);

		// Set flag
		secondSnooze = true;

	} else {

		// Reset flag
		/*
		 * This must be done here because if it's done
		 * in the top conditional, the secondSnooze is always true;
		 */
		secondSnooze = false;

	}
}

/*
 * General Falling-Edge EXTI Callback function
 *
 * Internal conditional determines which function to call
 * based on which button was pressed.
 */
void HAL_GPIO_EXTI_Falling_Callback(uint16_t GPIO_Pin) {

	HAL_StatusTypeDef halRet;					// Flag for printing interrupt status

	if(GPIO_Pin == displayButtonPin) {
		halRet = displayButtonISR();
		if (halRet != HAL_OK) {
			//printf("Error toggling display.\n\r");
		} else {
			//printf("Display intensity toggled.\n\r");
		}
	}
	else if(GPIO_Pin == alarmEnableButtonPin) {
		halRet = alarmEnableISR();
		if (halRet != HAL_OK) {
			//printf("Error toggling user alarm.\n\r");
		} else {
			//printf("User alarm toggled.\n\r");
		}
	}
	else if(GPIO_Pin == alarmSetButtonPin) {
		halRet = alarmSetISR();
		if (halRet != HAL_OK) {
			//printf("Error setting user alarm.\n\r");
		} else {
			//printf("User alarm set.\n\r");
		}
	}
	else if(GPIO_Pin == hourSetButtonPin) {
		halRet = hourSetISR();
		if (halRet != HAL_OK) {
			//printf("Error incrementing hour.\n\r");
		} else {
			//printf("Hour increment ISR success.\n\r");
		}
	}
	else if(GPIO_Pin == minuteSetButtonPin) {
		halRet = minuteSetISR();
		if (halRet != HAL_OK) {
			//printf("Error incrementing minute.\n\r");
		} else {
			//printf("Minute increment ISR success.\n\r");
		}
	}
	else if(GPIO_Pin == timeFormatSwitchPin) {

		halRet = timeFormatSwitchISR();

	}

	else {			//Code should never reach here, but do nothing if it does.
		__NOP();
	}

}

void HAL_GPIO_EXTI_Rising_Callback(uint16_t GPIO_Pin) {

	if(GPIO_Pin == timeFormatSwitchPin) {

		timeFormatSwitchISR();

	}

}

/*
 * Used for second snooze functionality
 *
 * This is entered at the end of a 10-minute snooze, at
 * which point the timer kicks back an interrupt.
 */
void HAL_TIM_PeriodElapsedCallback(TIM_HandleTypeDef *htim) {

	if((htim == timerSnooze) && (secondSnooze == true)) {

		userAlarmBeep();

	}

}

/*
 * Toggles through user time display brightness settings
 */
HAL_StatusTypeDef displayButtonISR(void) {

	HAL_StatusTypeDef halRet = HAL_OK;

	updateAndDisplayTime();

	sevSeg_setIntensity(sevSeg_intensityDuty[displayToggle]);		//Turn display to proper duty cycle

	if(displayToggle >= 1) {			// Increment display toggle or reset back down to 0;
		displayToggle = 0;
	} else {
		displayToggle++;
	}

	return halRet;				// Return HAL status

}

/*
 * Toggles user alarm enable bool and alarm enable LED.
 */
HAL_StatusTypeDef alarmEnableISR(void) {

	//printf("Entered alarm toggle ISR\n\r");
	HAL_StatusTypeDef halRet = HAL_OK;

	if(!userAlarmToggle) {					// If alarm is disabled, enable it.

		userAlarmToggle = true;								// Toggle internal flag to true

	}
	else if (userAlarmToggle) {				// If alarm is enabled, disable it.

		userAlarmToggle = false;							// Toggle internal flag to false
	}
	else {
		__NOP();							//Code should never reach here.
	}

	updateAndDisplayTime();				// Update display with correct decimal point

	// Reset snooze time
	secondSnooze = false;

	return halRet;

}

/*
 * Delays for 3 seconds, checks if alarm set button is still pressed.
 * If it is, allow user to set the new alarm time
 * and blink display to indicate this
 *
 */
HAL_StatusTypeDef alarmSetISR(void) {

	HAL_StatusTypeDef halRet = HAL_OK;

	/*
	 * Wait for 3 seconds to see if alarm set button is still pressed
	 */

	// Delay for 3 * 1s intervals
	for(uint8_t i = 0; i < 3; i++) {

		HAL_TIM_Base_Stop(timerDelay);
		timerDelay->Instance->CNT = 0;						// Reset timer base
		HAL_TIM_Base_Start(timerDelay);						// Begin timer 16 counting (to 1 s)
	//	timerVal = __HAL_TIM_GET_COUNTER(timerDelay);	// Get initial timer value to compare to

		do {

		} while(__HAL_TIM_GET_COUNTER(timerDelay) < (65535));
	}

	// If button is still pressed, we are in alarm set mode.
	if(HAL_GPIO_ReadPin(alarmSetButtonPort, alarmSetButtonPin) == GPIO_PIN_RESET) {
		alarmSetMode = true;
	}
	else {
		return halRet;
	}

	/*
	 * Then, if we are in alarm set mode, go through the
	 * alarm set process until the button is pressed again
	 */

	// Reset Timer
	HAL_TIM_Base_Stop(timerDelay);
	timerDelay->Instance->CNT = 0;
	HAL_TIM_Base_Start(timerDelay);						// Begin timer 16 counting (to 1 s)
	uint16_t timerVal = __HAL_TIM_GET_COUNTER(timerDelay);	// Get initial timer value to compare to

	bool alarmSetButtonReset = false;

	if(alarmSetMode) {

		bool displayBlink = false;

		do {											// while the alarm set button is not held down, blink display.

			// Check to make sure the user has released the set button from the initial hold
			if(HAL_GPIO_ReadPin(alarmSetButtonPort, alarmSetButtonPin) == GPIO_PIN_SET) {
				alarmSetButtonReset = true;
			}

			updateAndDisplayAlarm();

			if(__HAL_TIM_GET_COUNTER(timerDelay) - timerVal >= (65536 / 2)) {

				sevSeg_setIntensity(sevSeg_intensityDuty[displayBlink]);		// Initialize to whatever duty cycle

				timerVal = __HAL_TIM_GET_COUNTER(timerDelay);
				displayBlink = !displayBlink;

			}

		}while((HAL_GPIO_ReadPin(alarmSetButtonPort, alarmSetButtonPin) != GPIO_PIN_RESET)
				|| !alarmSetButtonReset);

		sevSeg_setIntensity(sevSeg_intensityDuty[1]);			// Turn display back to 50% intensity

		HAL_TIM_Base_Stop(timerDelay);

		updateAndDisplayTime();

	}

	alarmSetMode = false;		// We have exited alarm set mode

	//printf("Current time back to %u:%u:%u.\n\r", currTime.Hours, currTime.Minutes, currTime.Seconds);

	return halRet;

}

/*
 * Increment either user alarm hour value or RTC hour value
 */
HAL_StatusTypeDef hourSetISR(void) {

	HAL_StatusTypeDef halRet = HAL_OK;

	if(alarmSetMode) {	// If the clock is in alarm set mode, change user alarm time hour

		alarmHourInc();

	}
	else {									// Otherwise, change current time hour.

		currHourInc();

		HAL_RTC_SetTime(&hrtc, &currTime, RTCTimeFormat);

		updateAndDisplayTime();

		getRTCTime(&hrtc, &currTime, &currDate);

		//printf("Current time hour incremented to %u:%u:%u.\n\r", currTime.Hours,
				//currTime.Minutes, currTime.Seconds);
	}

	return halRet;

}

/*
 * Increment either user alarm minute value or RTC minute value
 */
HAL_StatusTypeDef minuteSetISR(void) {

	HAL_StatusTypeDef halRet = HAL_OK;

	if(alarmSetMode) {	// If the clock is in alarm set mode, change user alarm time hour

		alarmMinuteInc();

	}
	else {									// Otherwise, change current time hour.

		currMinuteInc();

		HAL_RTC_SetTime(&hrtc, &currTime, RTCTimeFormat);

		/*
		 * Change internal RTC alarm to keep it triggering
		 */

		RTC_AlarmTypeDef sAlarm = {0};
		HAL_RTC_GetAlarm(&hrtc, &sAlarm, internalAlarm, RTCTimeFormat);

		if(sAlarm.AlarmTime.Minutes>58) {
			sAlarm.AlarmTime.Minutes=0;
			//printf("Reset alarm time\n\r");
		} else {
			sAlarm.AlarmTime.Minutes=sAlarm.AlarmTime.Minutes+1;
		}
		while(HAL_RTC_SetAlarm_IT(&hrtc, &sAlarm, FORMAT_BIN)!=HAL_OK){}

		updateAndDisplayTime();

		getRTCTime(&hrtc, &currTime, &currDate);

		//printf("Current time minute incremented to %u:%u:%u.\n\r", currTime.Hours,
				//currTime.Minutes, currTime.Seconds);
	}

	return halRet;
}

/*
 * Switch hour format (12 or 24 hr)
 */
HAL_StatusTypeDef timeFormatSwitchISR(void) {

	HAL_StatusTypeDef halRet = HAL_OK;

	// Determine which time format we will be using
	if(HAL_GPIO_ReadPin(timeFormatSwitchPort, timeFormatSwitchPin) == userTimeFormatGPIO_12) {
	  userTimeFormat = RTC_HOURFORMAT_12;
	}
	else {
	  userTimeFormat = RTC_HOURFORMAT_24;
	}

	updateAndDisplayTime();

	return halRet;

}

/*
 * Increment user alarm time hour
 */
void alarmHourInc(void) {

	if(userAlarmTime.Hours >= 12) {
		userAlarmTime.Hours = 1;
	}
	else if(userAlarmTime.Hours == 11) {
		if(userAlarmTime.TimeFormat == RTC_HOURFORMAT12_AM) {
			userAlarmTime.TimeFormat = RTC_HOURFORMAT12_PM;
		}
		else {
			userAlarmTime.TimeFormat = RTC_HOURFORMAT12_AM;
		}
		userAlarmTime.Hours = 12;
	}
	else if(userAlarmTime.Hours < 11) {
		userAlarmTime.Hours = userAlarmTime.Hours + 1;
	}
	else {
		__NOP();
	}

	// Update RTC backup registers with new user alarm time
	updateRTCBackupReg();

}

/*
 * Increment current time hour
 */
void currHourInc(void) {

	getRTCTime(&hrtc, &currTime, &currDate);

	if(currTime.Hours >= 12) {
		currTime.Hours = 1;
	}
	else if(currTime.Hours == 11) {
		if(currTime.TimeFormat == RTC_HOURFORMAT12_AM) {
			currTime.TimeFormat = RTC_HOURFORMAT12_PM;
		}
		else {
			currTime.TimeFormat = RTC_HOURFORMAT12_AM;
		}
		currTime.Hours = 12;
	}
	else if(userAlarmTime.Hours < 11) {
		currTime.Hours = currTime.Hours + 1;
	}
	else {
		__NOP();
	}

	// Reset seconds
	currTime.Seconds = 0;
	currTime.SecondFraction = 0;

}

/*
 * Increment User alarm time minute
 */
void alarmMinuteInc(void) {

	if(userAlarmTime.Minutes >= 59) {
		/*
		 * The below function call is the old version in which
		 * the hour will increment when the minutes roll over.
		 */
		//alarmHourInc();
		userAlarmTime.Minutes = 0;
	}
	else if(userAlarmTime.Minutes < 59) {
		userAlarmTime.Minutes = userAlarmTime.Minutes + 1;
	}
	else {
		__NOP();
	}

	// Update RTC backup registers with new user alarm time
	updateRTCBackupReg();

}

/*
 * Increment current time minute
 */
void currMinuteInc(void) {

	getRTCTime(&hrtc, &currTime, &currDate);

	if(currTime.Minutes >= 59) {

		/*
		 * The below function call is the old version in which
		 * the hour will increment when the minutes roll over.
		 */
		// currHourInc();

		currTime.Minutes = 0;
	}
	else if(currTime.Minutes < 59) {
		currTime.Minutes = currTime.Minutes + 1;
	}
	else {
		__NOP();
	}

	// Reset seconds
	currTime.Seconds = 0;
	currTime.SecondFraction = 0;

}

/*
 * Displays a non-critical fault to indicate reduced functionality
 */
void dispFault(void) {
	HAL_GPIO_WritePin(debugLEDPort, debugLEDPin, GPIO_PIN_SET);
}

/*
 * Displays a critical failure and ceases all operations
 */
void dispFailure(void) {

	HAL_TIM_Base_Stop(timerDelay);
	HAL_TIM_Base_Start(timerDelay);						// Begin timer 16 counting (to 500 ms)
	uint32_t timerVal = __HAL_TIM_GET_COUNTER(timerDelay);	// Get initial timer value to compare to
	bool displayBlink = false;

	do {

		if(__HAL_TIM_GET_COUNTER(timerDelay) - timerVal >= (65535 / 4)) {		// Use hardware timer to blink/beep display

			HAL_GPIO_TogglePin(debugLEDPort, debugLEDPin);

			timerVal = __HAL_TIM_GET_COUNTER(timerDelay);				// Update timer value

			displayBlink = !displayBlink;							// Toggle display blink counter

		}

	} while(1);

}

/*
 * Updates RTC backup register with user alarm time to be later pulled from in the case of a power outage
 */
void updateRTCBackupReg(void) {

	HAL_RTCEx_BKUPWrite(&hrtc, userAlarmHourBackupReg, userAlarmTime.Hours);
	HAL_RTCEx_BKUPWrite(&hrtc, userAlarmMinuteBackupReg, userAlarmTime.Minutes);
	HAL_RTCEx_BKUPWrite(&hrtc, userAlarmTFBackupReg, userAlarmTime.TimeFormat);

}

/*
 * Converts the time in an AM/PM RTC time to 24-hour time
 * Returns this time in an RTC Time Def object
 */
RTC_TimeTypeDef conv2Mil(RTC_TimeTypeDef *oldTime) {

	RTC_TimeTypeDef convertedTime = *oldTime;

	// If we are in PM, increment hours by 12 (but not if it is 12 p.m.)
	if(oldTime->TimeFormat == RTC_HOURFORMAT12_PM && oldTime->Hours != 12) {
		convertedTime.Hours += 12;
	}
	// If we are in AM and the hours are 12, set hours to 0.
	else if(oldTime->TimeFormat == RTC_HOURFORMAT12_AM && oldTime->Hours == 12) {
		convertedTime.Hours = 0;
	}
	else { // No change

	}

	// Make the update and display time function think that it is AM always
	convertedTime.TimeFormat = RTC_HOURFORMAT12_AM;

	return convertedTime;

}

/*
 * Begins DMA streams to pull data from memory, process data, and push to i2s amplifier.
 */
void startAudioStream(void);

/* USER CODE END 4 */

void Error_Handler(void)
{
  __disable_irq();
  while (1)
  {
  }
}
